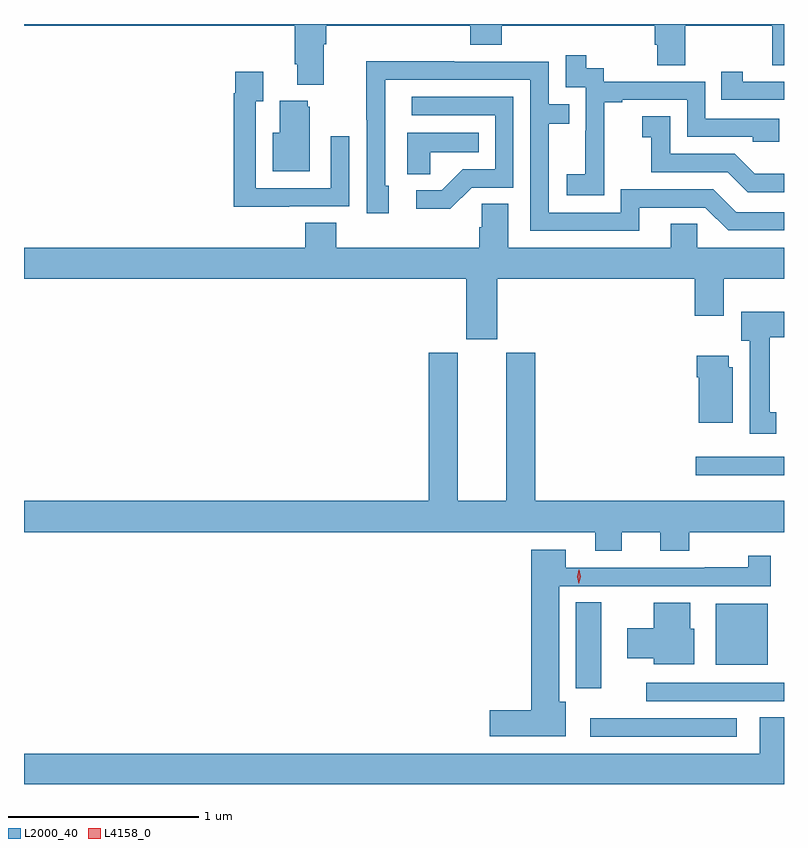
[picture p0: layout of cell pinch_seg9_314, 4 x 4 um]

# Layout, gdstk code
import gdstk
lib = gdstk.Library(unit=1e-6, precision=1e-09)
def R(c, l, rs):  # rectangles x0, y0, x1, y1
    for r in rs: c.add(gdstk.rectangle(r[:2], r[2:], *l))
def P(c, l, *ps):  # polygons
    for p in ps: c.add(gdstk.Polygon(p, *l))
L2000_40 = (2000, 40)
L4158_0 = (4158, 0)

pinch_seg9_314 = lib.new_cell('pinch_seg9_314')
R(pinch_seg9_314, L2000_40, [(566.37,1200.672,567.142,1200.768), (566.664,1200.858,567.39,1200.954), (566.294,1200.927,566.428,1201.379), (567.032,1201.049,567.304,1201.372), (566.925,1202.048,567.39,1202.145)])
P(pinch_seg9_314, L2000_40, [(564.967,1204.316),(564.98,1204.316),(564.98,1204.412),(565.739,1204.412),(565.739,1204.313),(565.904,1204.313),(565.904,1204.412),(566.711,1204.412),(566.711,1204.314),(566.723,1204.314),(566.723,1204.204),(566.871,1204.204),(566.871,1204.412),(567.328,1204.412),(567.328,1204.204),(567.39,1204.204),(567.39,1204.422),(563.39,1204.422),(563.39,1204.412),(564.815,1204.412),(564.815,1204.21),(564.827,1204.21),(564.827,1204.103),(564.967,1204.103)],
  [(566.445,1203.727),(566.444,1203.727),(566.444,1204.011),(566.539,1204.011),(566.539,1204.023),(566.88,1204.023),(566.88,1203.828),(567.225,1203.828),(567.225,1203.801),(567.365,1203.801),(567.365,1203.924),(566.976,1203.924),(566.976,1204.119),(566.442,1204.119),(566.442,1204.188),(566.35,1204.188),(566.35,1204.258),(566.241,1204.258),(566.241,1204.089),(566.346,1204.089),(566.346,1203.86),(566.345,1203.86),(566.345,1203.631),(566.247,1203.631),(566.247,1203.521),(566.445,1203.521)],
  [(566.629,1203.456),(566.976,1203.456),(567.096,1203.336),(567.39,1203.336),(567.39,1203.432),(567.138,1203.432),(567.018,1203.552),(566.532,1203.552),(566.532,1203.429),(566.151,1203.429),(566.151,1203.898),(566.261,1203.898),(566.261,1203.999),(566.151,1203.999),(566.151,1204.224),(565.655,1204.224),(565.655,1204.226),(565.192,1204.226),(565.192,1203.919),(565.194,1203.919),(565.194,1203.426),(565.309,1203.426),(565.309,1203.57),(565.29,1203.57),(565.29,1204.128),(566.055,1204.128),(566.055,1203.333),(566.629,1203.333)],
  [(564.785,1203.462),(565.101,1203.462),(565.101,1203.832),(565.005,1203.832),(565.005,1203.558),(564.609,1203.558),(564.609,1204.015),(564.649,1204.015),(564.649,1204.171),(564.501,1204.171),(564.501,1204.058),(564.493,1204.058),(564.493,1203.461),(564.785,1203.461)],
  [(567.39,1204.119),(567.172,1204.119),(567.172,1204.171),(567.061,1204.171),(567.061,1204.023),(567.39,1204.023)],
  [(565.746,1203.561),(565.965,1203.561),(565.965,1204.038),(565.431,1204.038),(565.431,1203.942),(565.869,1203.942),(565.869,1203.657),(565.7,1203.657),(565.589,1203.546),(565.455,1203.546),(565.455,1203.449),(565.633,1203.449)],
  [(564.895,1203.987),(564.884,1203.987),(564.884,1204.018),(564.737,1204.018),(564.737,1203.85),(564.698,1203.85),(564.698,1203.647),(564.895,1203.647)],
  [(567.39,1203.634),(567.236,1203.634),(567.132,1203.738),(566.79,1203.738),(566.79,1203.937),(566.643,1203.937),(566.643,1203.827),(566.692,1203.827),(566.692,1203.642),(567.095,1203.642),(567.2,1203.537),(567.39,1203.537)],
  [(565.527,1203.746),(565.784,1203.746),(565.784,1203.85),(565.406,1203.85),(565.406,1203.631),(565.527,1203.631)],
  [(565.882,1203.08),(566.921,1203.08),(566.921,1202.886),(567.073,1202.886),(567.073,1203.08),(567.39,1203.08),(567.39,1203.244),(566.934,1203.244),(566.934,1203.371),(566.795,1203.371),(566.795,1203.244),(565.939,1203.244),(565.939,1203.476),(565.8,1203.476),(565.8,1203.353),(565.787,1203.353),(565.787,1203.244),(565.034,1203.244),(565.034,1203.377),(564.869,1203.377),(564.869,1203.244),(563.39,1203.244),(563.39,1203.08),(565.718,1203.08),(565.718,1202.763),(565.882,1202.763)],
  [(567.349,1202.378),(567.316,1202.378),(567.316,1202.774),(567.39,1202.774),(567.39,1202.908),(567.164,1202.908),(567.164,1202.754),(567.209,1202.754),(567.209,1202.265),(567.349,1202.265)],
  [(566.536,1201.748),(566.738,1201.748),(566.738,1201.649),(566.891,1201.649),(566.891,1201.748),(567.39,1201.748),(567.39,1201.912),(566.081,1201.912),(566.081,1202.691),(565.928,1202.691),(565.928,1201.912),(565.672,1201.912),(565.672,1202.691),(565.52,1202.691),(565.52,1201.912),(563.39,1201.912),(563.39,1201.748),(566.396,1201.748),(566.396,1201.649),(566.536,1201.649)],
  [(567.121,1202.616),(567.1,1202.616),(567.1,1202.677),(566.93,1202.677),(566.93,1202.564),(566.942,1202.564),(566.942,1202.324),(567.121,1202.324)],
  [(566.242,1200.856),(566.206,1200.856),(566.206,1201.464),(567.319,1201.464),(567.319,1201.624),(567.202,1201.624),(567.202,1201.562),(566.974,1201.562),(566.974,1201.56),(566.242,1201.56),(566.242,1201.654),(566.06,1201.654),(566.06,1200.809),(565.842,1200.809),(565.842,1200.674),(566.242,1200.674)],
  [(566.917,1201.239),(566.896,1201.239),(566.896,1201.375),(566.705,1201.375),(566.705,1201.243),(566.565,1201.243),(566.565,1201.085),(566.705,1201.085),(566.705,1201.052),(566.917,1201.052)],
  [(567.39,1200.773),(567.263,1200.773),(567.263,1200.58),(563.39,1200.58),(563.39,1200.422),(567.39,1200.422)])
P(pinch_seg9_314, L4158_0, [(566.31,1201.477),(566.31,1201.477),(566.301,1201.513),(566.311,1201.549),(566.311,1201.549),(566.312,1201.549),(566.321,1201.513),(566.311,1201.477)])

lib.write_gds('pinch_seg9_314.gds')
